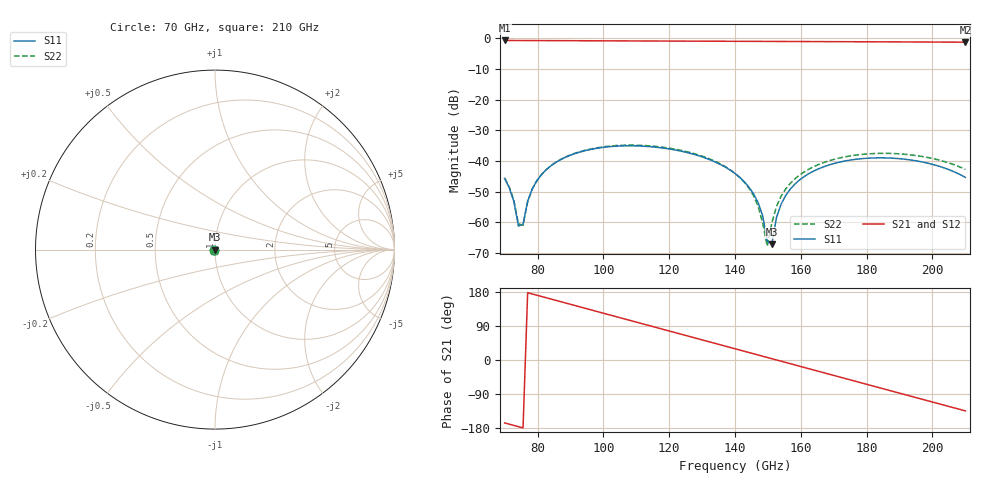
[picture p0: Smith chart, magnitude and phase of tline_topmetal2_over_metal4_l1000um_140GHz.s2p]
#  GHZ S DB R 50
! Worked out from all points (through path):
!   101 points, 70 GHz to 210 GHz, reference 50 ohm
!   highest |S21| = -0.67 dB at 70 GHz (marker M1); lowest = -1.2 dB at 210 GHz (marker M2)
!   group delay of S21, straight-line fit = 6.51 ps
!   lowest |S11| = -67.2 dB at 151.2 GHz (marker M3), VSWR 1.00, Z = 50 - j0.00933 ohm
!   |S11| at or under -10 dB: start of sweep to end of sweep
!   |S22| runs from -67.8 to -34.8 dB; largest |S21 - S12| = 1e-13
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70  -45.75 -137.9  -0.67 -166.0  -0.67 -166.0  -45.53 -138.4
72.8  -53.19 -136.3  -0.68 -172.6  -0.68 -172.6  -52.81 -137.0
74.2  -61.28 -114.9  -0.69 -175.9  -0.69 -175.9  -60.55 -117.5
75.6  -60.70 -13.7  -0.70 -179.2  -0.70 -179.2  -61.03 -17.8
77  -53.21 4.7  -0.70 177.5  -0.70 177.5  -53.36 3.2
78.4  -49.15 6.7  -0.71 174.2  -0.71 174.2  -49.21 5.6
81.2  -44.47 3.7  -0.72 167.6  -0.72 167.6  -44.46 2.8
93.8  -36.83 -23.6  -0.77 138.0  -0.77 138.0  -36.72 -24.4
106.4  -35.09 -53.2  -0.82 108.5  -0.82 108.5  -34.87 -53.9
117.6  -35.73 -79.2  -0.87 82.2  -0.87 82.2  -35.48 -80.0
130.2  -38.76 -108.4  -0.91 52.7  -0.91 52.7  -38.51 -109.0
140  -44.11 -130.9  -0.95 29.7  -0.95 29.7  -44.07 -130.7
145.6  -50.68 -142.2  -0.97 16.5  -0.97 16.5  -51.32 -139.6
148.4  -57.86 -143.3  -0.98 10.0  -0.98 10.0  -60.20 -130.6
149.8  -66.09 -129.5  -0.98 6.7  -0.98 6.7  -67.84 -68.1
151.2  -67.23 -12.4  -0.99 3.4  -0.99 3.4  -60.22 -6.6
152.6  -58.50 4.8  -1.00 0.1  -1.00 0.1  -54.87 1.5
155.4  -51.30 4.1  -1.01 -6.4  -1.01 -6.4  -49.16 0.8
163.8  -43.37 -14.1  -1.04 -26.1  -1.04 -26.1  -41.94 -16.6
176.4  -39.52 -45.5  -1.09 -55.7  -1.09 -55.7  -38.15 -47.4
187.6  -39.10 -74.1  -1.14 -81.9  -1.14 -81.9  -37.57 -75.5
210  -45.40 -132.0  -1.23 -134.3  -1.23 -134.3  -42.79 -131.4
